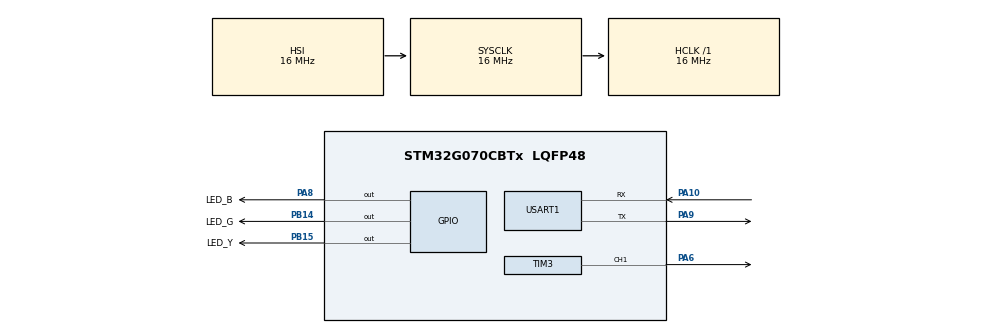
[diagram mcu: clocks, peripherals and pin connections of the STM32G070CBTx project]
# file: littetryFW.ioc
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Mcu.Family=STM32G0
Mcu.Name=STM32G070CBTx
Mcu.Package=LQFP48
NVIC.USART1_IRQn=true\:0\:0\:false\:false\:true\:true\:true\:true
PA10.Mode=Multiprocessor_communication
PA10.Signal=USART1_RX
PA13.Mode=Serial_Wire
PA13.Signal=SYS_SWDIO
PA14-BOOT0.Mode=Serial_Wire
PA14-BOOT0.Signal=SYS_SWCLK
PA6.Signal=S_TIM3_CH1
PA8.GPIO_Label=LED_B
PA8.Signal=GPIO_Output
PA9.Mode=Multiprocessor_communication
PA9.Signal=USART1_TX
PB14.GPIO_Label=LED_G
PB14.Signal=GPIO_Output
PB15.GPIO_Label=LED_Y
PB15.Signal=GPIO_Output
PF0-OSC_IN\ (PF0).Mode=HSE-External-Oscillator
PF0-OSC_IN\ (PF0).Signal=RCC_OSC_IN
PF1-OSC_OUT\ (PF1).Mode=HSE-External-Oscillator
PF1-OSC_OUT\ (PF1).Signal=RCC_OSC_OUT
ProjectManager.HeapSize=0x200
ProjectManager.StackSize=0x400
ProjectManager.TargetToolchain=STM32CubeIDE
RCC.AHBFreq_Value=16000000
RCC.CortexFreq_Value=16000000
RCC.EXTERNAL_CLOCK_VALUE=48000
RCC.HCLKFreq_Value=16000000
RCC.HSE_VALUE=8000000
RCC.HSI_VALUE=16000000
RCC.LSE_VALUE=32768
RCC.SYSCLKFreq_VALUE=16000000
RCC.VCOOutputFreq_Value=128000000
SH.S_TIM3_CH1.0=TIM3_CH1,PWM Generation1 CH1
TIM3.Channel-PWM\ Generation1\ CH1=TIM_CHANNEL_1
USART1.VirtualMode-Multiprocessor_communication=VM_ASYNC
VP_TIM3_VS_ClockSourceINT.Mode=Internal
board=custom

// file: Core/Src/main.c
/* USER CODE BEGIN Header */
/**
  ******************************************************************************
  * @file           : main.c
  * @brief          : Main program body
  ******************************************************************************
  * @attention
  *
  * Copyright (c) 2023 STMicroelectronics.
  * All rights reserved.
  *
  * This software is licensed under terms that can be found in the LICENSE file
  * in the root directory of this software component.
  * If no LICENSE file comes with this software, it is provided AS-IS.
  *
  ******************************************************************************
  */
/* USER CODE END Header */
#include "main.h"
#include <stdint.h>
#include <stdlib.h>
#include <string.h>

TIM_HandleTypeDef htim3;

UART_HandleTypeDef huart1;

void SystemClock_Config(void);
static void MX_GPIO_Init(void);
static void MX_TIM3_Init(void);
static void MX_USART1_UART_Init(void);

/* USER CODE BEGIN PFP */

char msg[] = "plz enter right char\n";
uint8_t receiveData;
uint8_t num;
/* char receiveData[] ; */

/* USER CODE END PFP */

/* USER CODE BEGIN 0 */
void Ctr_Led(uint8_t data);
/* USER CODE END 0 */

int main(void)
{

  /* MCU Configuration--------------------------------------------------------*/

  /* Reset of all peripherals, Initializes the Flash interface and the Systick. */
  HAL_Init();

  /* Configure the system clock */
  SystemClock_Config();

  /* Initialize all configured peripherals */
  MX_GPIO_Init();
  MX_TIM3_Init();
  MX_USART1_UART_Init();
  /* USER CODE BEGIN 2 */
  HAL_GPIO_WritePin(GPIOA,LED_B_Pin,GPIO_PIN_SET);
  HAL_GPIO_WritePin(GPIOB,LED_Y_Pin,GPIO_PIN_RESET);
  /* USER CODE END 2 */

  /* Infinite loop */
  while (1)
  {

    /* USER CODE BEGIN 3 */

	  /* HAL_UART_Transmit(&huart1,(uint8_t*)msg,strlen(msg), 1000); */
	  HAL_UART_Receive(&huart1,num,2, HAL_MAX_DELAY);
	  /* HAL_UART_Receive(&huart1,receiveData,strlen(receiveData), HAL_MADELAY); */
/* //	  HAL_Delay(100); */
	  HAL_UART_Transmit(&huart1,num, 1,1000);

    Ctr_Led(num);

  }
  /* USER CODE END 3 */
}

void SystemClock_Config(void)
{
  RCC_OscInitTypeDef RCC_OscInitStruct = {0};
  RCC_ClkInitTypeDef RCC_ClkInitStruct = {0};

  /** Configure the main internal regulator output voltage
  */
  HAL_PWREx_ControlVoltageScaling(PWR_REGULATOR_VOLTAGE_SCALE1);

  /** Initializes the RCC Oscillators according to the specified parameters
  * in the RCC_OscInitTypeDef structure.
  */
  RCC_OscInitStruct.OscillatorType = RCC_OSCILLATORTYPE_HSI;
  RCC_OscInitStruct.HSIState = RCC_HSI_ON;
  RCC_OscInitStruct.HSIDiv = RCC_HSI_DIV1;
  RCC_OscInitStruct.HSICalibrationValue = RCC_HSICALIBRATION_DEFAULT;
  RCC_OscInitStruct.PLL.PLLState = RCC_PLL_NONE;
  if (HAL_RCC_OscConfig(&RCC_OscInitStruct) != HAL_OK)
  {
    Error_Handler();
  }

  /** Initializes the CPU, AHB and APB buses clocks
  */
  RCC_ClkInitStruct.ClockType = RCC_CLOCKTYPE_HCLK|RCC_CLOCKTYPE_SYSCLK
                              |RCC_CLOCKTYPE_PCLK1;
  RCC_ClkInitStruct.SYSCLKSource = RCC_SYSCLKSOURCE_HSI;
  RCC_ClkInitStruct.AHBCLKDivider = RCC_SYSCLK_DIV1;
  RCC_ClkInitStruct.APB1CLKDivider = RCC_HCLK_DIV1;

  if (HAL_RCC_ClockConfig(&RCC_ClkInitStruct, FLASH_LATENCY_0) != HAL_OK)
  {
    Error_Handler();
  }
}

static void MX_TIM3_Init(void)
{

  TIM_ClockConfigTypeDef sClockSourceConfig = {0};
  TIM_MasterConfigTypeDef sMasterConfig = {0};
  TIM_OC_InitTypeDef sConfigOC = {0};

  htim3.Instance = TIM3;
  htim3.Init.Prescaler = 0;
  htim3.Init.CounterMode = TIM_COUNTERMODE_UP;
  htim3.Init.Period = 65535;
  htim3.Init.ClockDivision = TIM_CLOCKDIVISION_DIV1;
  htim3.Init.AutoReloadPreload = TIM_AUTORELOAD_PRELOAD_DISABLE;
  if (HAL_TIM_Base_Init(&htim3) != HAL_OK)
  {
    Error_Handler();
  }
  sClockSourceConfig.ClockSource = TIM_CLOCKSOURCE_INTERNAL;
  if (HAL_TIM_ConfigClockSource(&htim3, &sClockSourceConfig) != HAL_OK)
  {
    Error_Handler();
  }
  if (HAL_TIM_PWM_Init(&htim3) != HAL_OK)
  {
    Error_Handler();
  }
  sMasterConfig.MasterOutputTrigger = TIM_TRGO_RESET;
  sMasterConfig.MasterSlaveMode = TIM_MASTERSLAVEMODE_DISABLE;
  if (HAL_TIMEx_MasterConfigSynchronization(&htim3, &sMasterConfig) != HAL_OK)
  {
    Error_Handler();
  }
  sConfigOC.OCMode = TIM_OCMODE_PWM1;
  sConfigOC.Pulse = 0;
  sConfigOC.OCPolarity = TIM_OCPOLARITY_HIGH;
  sConfigOC.OCFastMode = TIM_OCFAST_DISABLE;
  if (HAL_TIM_PWM_ConfigChannel(&htim3, &sConfigOC, TIM_CHANNEL_1) != HAL_OK)
  {
    Error_Handler();
  }
  HAL_TIM_MspPostInit(&htim3);

}

static void MX_USART1_UART_Init(void)
{

  huart1.Instance = USART1;
  huart1.Init.BaudRate = 115200;
  huart1.Init.WordLength = UART_WORDLENGTH_8B;
  huart1.Init.StopBits = UART_STOPBITS_1;
  huart1.Init.Parity = UART_PARITY_NONE;
  huart1.Init.Mode = UART_MODE_TX_RX;
  huart1.Init.HwFlowCtl = UART_HWCONTROL_NONE;
  huart1.Init.OverSampling = UART_OVERSAMPLING_16;
  huart1.Init.OneBitSampling = UART_ONE_BIT_SAMPLE_DISABLE;
  huart1.Init.ClockPrescaler = UART_PRESCALER_DIV1;
  huart1.AdvancedInit.AdvFeatureInit = UART_ADVFEATURE_NO_INIT;
  if (HAL_MultiProcessor_Init(&huart1, 0, UART_WAKEUPMETHOD_IDLELINE) != HAL_OK)
  {
    Error_Handler();
  }
  if (HAL_UARTEx_SetTxFifoThreshold(&huart1, UART_TXFIFO_THRESHOLD_1_8) != HAL_OK)
  {
    Error_Handler();
  }
  if (HAL_UARTEx_SetRxFifoThreshold(&huart1, UART_RXFIFO_THRESHOLD_1_8) != HAL_OK)
  {
    Error_Handler();
  }
  if (HAL_UARTEx_DisableFifoMode(&huart1) != HAL_OK)
  {
    Error_Handler();
  }

}

static void MX_GPIO_Init(void)
{
  GPIO_InitTypeDef GPIO_InitStruct = {0};

  /* GPIO Ports Clock Enable */
  __HAL_RCC_GPIOF_CLK_ENABLE();
  __HAL_RCC_GPIOA_CLK_ENABLE();
  __HAL_RCC_GPIOB_CLK_ENABLE();

  /*Configure GPIO pin Output Level */
  HAL_GPIO_WritePin(GPIOB, LED_G_Pin|LED_Y_Pin, GPIO_PIN_RESET);

  /*Configure GPIO pin Output Level */
  HAL_GPIO_WritePin(LED_B_GPIO_Port, LED_B_Pin, GPIO_PIN_RESET);

  /*Configure GPIO pins : LED_G_Pin LED_Y_Pin */
  GPIO_InitStruct.Pin = LED_G_Pin|LED_Y_Pin;
  GPIO_InitStruct.Mode = GPIO_MODE_OUTPUT_PP;
  GPIO_InitStruct.Pull = GPIO_NOPULL;
  GPIO_InitStruct.Speed = GPIO_SPEED_FREQ_LOW;
  HAL_GPIO_Init(GPIOB, &GPIO_InitStruct);

  /*Configure GPIO pin : LED_B_Pin */
  GPIO_InitStruct.Pin = LED_B_Pin;
  GPIO_InitStruct.Mode = GPIO_MODE_OUTPUT_PP;
  GPIO_InitStruct.Pull = GPIO_NOPULL;
  GPIO_InitStruct.Speed = GPIO_SPEED_FREQ_LOW;
  HAL_GPIO_Init(LED_B_GPIO_Port, &GPIO_InitStruct);

}

/* USER CODE BEGIN 4 */
void Ctr_Led(uint8_t data)
{
    switch (data) {
        case 0:
            HAL_GPIO_WritePin(GPIOA, LED_B_Pin, GPIO_PIN_RESET);
            break;
        case 1:
            HAL_GPIO_WritePin(GPIOA, LED_B_Pin, GPIO_PIN_SET);
            break;
        case 2:
            HAL_GPIO_WritePin(GPIOB, LED_Y_Pin, GPIO_PIN_RESET);
            break;
        case 3:
            HAL_GPIO_WritePin(GPIOB, LED_Y_Pin, GPIO_PIN_SET);
            break;
        case 4:
            HAL_GPIO_WritePin(GPIOB, LED_G_Pin, GPIO_PIN_RESET);
            break;
        case 5:
            HAL_GPIO_WritePin(GPIOB, LED_G_Pin, GPIO_PIN_SET);
            break;
        default:
            HAL_UART_Transmit(&huart1,(uint8_t*)msg,strlen(msg), 1000);
            /* HAL_UART_Transmit(&huart1,num, 2,1000); */
            break;
    }
}

/* USER CODE END 4 */

void Error_Handler(void)
{
  __disable_irq();
  while (1)
  {
  }
}
